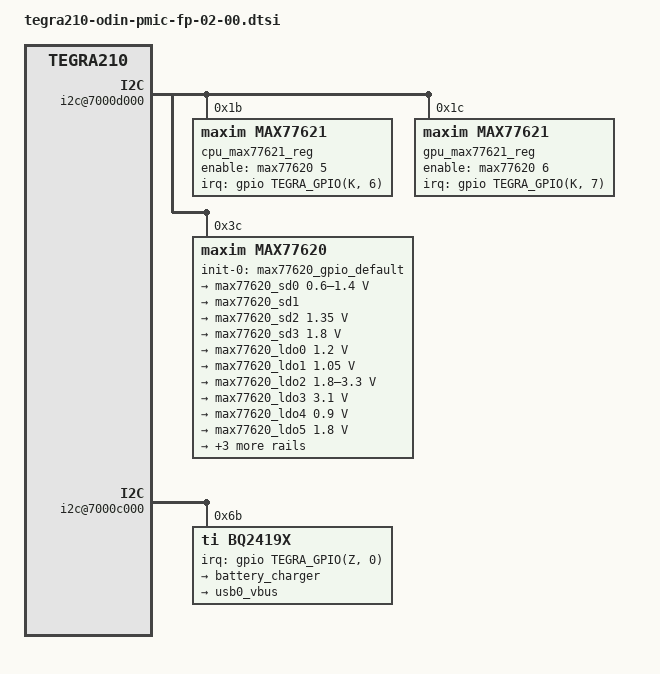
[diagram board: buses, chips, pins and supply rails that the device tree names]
/*
 * Copyright (c) 2014-2015, NVIDIA CORPORATION.  All rights reserved.
 *
 * This program is free software; you can redistribute it and/or modify
 * it under the terms of the GNU General Public License as published by
 * the Free Software Foundation; either version 2 of the License, or
 * (at your option) any later version.
 *
 * This program is distributed in the hope that it will be useful, but WITHOUT
 * ANY WARRANTY; without even the implied warranty of MERCHANTABILITY or
 * FITNESS FOR A PARTICULAR PURPOSE.  See the GNU General Public License for
 * more details.
 *
 * You should have received a copy of the GNU General Public License
 * along with this program.  If not, see <http://www.gnu.org/licenses/>.
 */

#include <dt-bindings/mfd/max77620.h>
#include <dt-bindings/regulator/regulator.h>
#include <dt-bindings/gpio/tegra-gpio.h>
#include <dt-bindings/thermal/thermal.h>
#include <dt-bindings/interrupt-controller/irq.h>

/ {
	i2c@7000d000 {
		nvidia,bit-banging-xfer-after-shutdown;

		cpu_max77621_reg: max77621@1b {
			compatible = "maxim,max77621";
			reg = <0x1b>;
			interrupt-parent = <&gpio>;
			interrupts = <TEGRA_GPIO(K, 6) IRQF_TRIGGER_FALLING>;
			regulator-name = "vdd-cpu";
			regulator-min-microvolt = <606250>;
			regulator-max-microvolt = <1400000>;
			regulator-n-voltages = <128>;
			regulator-ramp-delay = <12000>;
			regulator-enable-ramp-delay = <150>;
			regulator-disable-ramp-delay = <60000>;
			regulator-boot-on;
			regulator-always-on;
			#thermal-sensor-cells = <0>;
			maxim,enable-active-discharge;
			maxim,externally-enable;
			maxim,sleep-on-dvs;
			maxim,dvs-default-state = <1>;
			maxim,enable-gpio = <&max77620 5 0>;
		};

		gpu_max77621_reg: max77621@1c {
			compatible = "maxim,max77621";
			reg = <0x1c>;
			interrupt-parent = <&gpio>;
			interrupts = <TEGRA_GPIO(K, 7) IRQF_TRIGGER_FALLING>;
			regulator-name = "vdd-gpu";
			regulator-min-microvolt = <606250>;
			regulator-max-microvolt = <1400000>;
			regulator-init-microvolt = <1000000>;
			regulator-enable-ramp-delay = <200>;
			regulator-disable-ramp-delay = <60000>;
			regulator-boot-off;
			regulator-ramp-delay = <12000>;
			#thermal-sensor-cells = <0>;
			maxim,enable-active-discharge;
			maxim,enable-bias-control;
			maxim,dvs-default-state = <1>;
			maxim,enable-gpio = <&max77620 6 0>;
		};

		max77620: max77620@3c {
			compatible = "maxim,max77620";
			reg = <0x3c>;
			interrupts = <0 86 IRQ_TYPE_NONE>;

			#interrupt-cells = <2>;
			interrupt-controller;

			gpio-controller;
			#gpio-cells = <2>;

			maxim,enable-clock32k-out;

			maxim,system-pmic-power-off;

			maxim,hot-die-threshold-temp = <110000>;
			#thermal-sensor-cells = <0>;

			pinctrl-names = "default";
			pinctrl-0 = <&max77620_default>;

			gpio-init-names = "default";
			gpio-init-0 = <&max77620_gpio_default>;

			max77620_default: pinmux@0 {
				pin_gpio0 {
					pins = "gpio0";
					function = "gpio";
				};

				pin_gpio1 {
					pins = "gpio1";
					function = "fps-out";
					drive-push-pull = <1>;
					maxim,fps-source = <FPS_SRC_0>;
					maxim,fps-power-up-period = <7>;
					maxim,fps-power-down-period = <0>;
				};

				pin_gpio2_3 {
					pins = "gpio2", "gpio3";
					function = "fps-out";
					drive-open-drain = <1>;
					maxim,fps-source = <FPS_SRC_0>;
				};

				pin_gpio4 {
					pins = "gpio4";
					function = "32k-out1";
				};

				pin_gpio5_6_7 {
					pins = "gpio5", "gpio6", "gpio7";
					function = "gpio";
					drive-push-pull = <1>;
				};
			};

			max77620_gpio_default:gpio_default {
				gpio-output-high = <2>;
			};

			watchdog {
				maxim,wdt-timeout = <16>;
				maxim,wdt-clear-time = <13>;
				status = "disabled";
				dt-override-status-odm-data = <0x00020000 0x00020000>;
			};

			fps {
				#address-cells = <1>;
				#size-cells = <0>;
				fps@0 {
					reg = <0>;
					maxim,fps-time-period = <2560>;
					maxim,fps-enable-input = <FPS_EN_SRC_EN0>;
				};

				fps@1 {
					reg = <1>;
					maxim,fps-time-period = <2560>;
					maxim,fps-enable-input = <FPS_EN_SRC_EN1>;
					maxim,enable-sleep;
				};

				fps@2 {
					reg = <2>;
					maxim,fps-enable-input = <FPS_EN_SRC_EN0>;
				};
			};

			backup-battery {
				maxim,backup-battery-charging-current = <100>;
				maxim,backup-battery-charging-voltage = <3000000>;
				maxim,backup-battery-output-resister = <100>;
			};

			regulators {
				in-ldo0-1-supply = <&max77620_sd2>;
				in-ldo7-8-supply = <&max77620_sd2>;

				max77620_sd0: sd0 {
					regulator-name = "vdd_core";
					regulator-min-microvolt = <600000>;
					regulator-max-microvolt = <1400000>;
					regulator-boot-on;
					regulator-always-on;
					maxim,fps-source = <FPS_SRC_1>;
					regulator-init-mode = <REGULATOR_MODE_NORMAL>;
					regulator-enable-ramp-delay = <146>;
					regulator-disable-ramp-delay = <4080>;
					regulator-ramp-delay = <27500>;
					regulator-ramp-delay-scale = <300>;
				};

				max77620_sd1: sd1 {
					regulator-name = "vddio-ddr";
					regulator-always-on;
					regulator-boot-on;
					regulator-init-mode = <REGULATOR_MODE_NORMAL>;
					maxim,fps-source = <FPS_SRC_0>;
					regulator-enable-ramp-delay = <130>;
					regulator-disable-ramp-delay = <145800>;
					regulator-ramp-delay = <27500>;
					regulator-ramp-delay-scale = <300>;
				};

				max77620_sd2: sd2 {
					regulator-name = "vdd-pre-reg";
					regulator-min-microvolt = <1350000>;
					regulator-max-microvolt = <1350000>;
					maxim,fps-source = <FPS_SRC_1>;
					regulator-enable-ramp-delay = <176>;
					regulator-disable-ramp-delay = <32000>;
					regulator-ramp-delay = <27500>;
					regulator-ramp-delay-scale = <350>;
				};

				max77620_sd3: sd3 {
					regulator-name = "vdd-1v8";
					regulator-min-microvolt = <1800000>;
					regulator-max-microvolt = <1800000>;
					regulator-always-on;
					regulator-boot-on;
					maxim,fps-source = <FPS_SRC_0>;
					regulator-init-mode = <REGULATOR_MODE_NORMAL>;
					regulator-enable-ramp-delay = <242>;
					regulator-disable-ramp-delay = <118000>;
					regulator-ramp-delay = <27500>;
					regulator-ramp-delay-scale = <360>;
					consumers {
						c7 {
							regulator-consumer-supply = "avdd_pll_utmip";
							regulator-consumer-device = "tegra-ehci.0";
						};
						c8 {
							regulator-consumer-supply = "avdd_pll_utmip";
							regulator-consumer-device = "tegra-ehci.1";
						};
						c9 {
							regulator-consumer-supply = "avdd_pll_utmip";
							regulator-consumer-device = "tegra-ehci.2";
						};
						c18 {
							regulator-consumer-supply = "vdd";
							regulator-consumer-device = "2-004c";
						};
						c19 {
							regulator-consumer-supply = "vdd";
							regulator-consumer-device = "0-004c";
						};
					};
				};

				max77620_ldo0: ldo0 {
					regulator-name = "avdd-sys";
					regulator-min-microvolt = <1200000>;
					regulator-max-microvolt = <1200000>;
					regulator-always-on;
					regulator-boot-on;
					maxim,fps-source = <FPS_SRC_NONE>;
					regulator-enable-ramp-delay = <26>;
					regulator-disable-ramp-delay = <626>;
					regulator-ramp-delay = <100000>;
					regulator-ramp-delay-scale = <200>;
					consumers {
						c0 {
							regulator-consumer-supply = "vddio_hsic";
							regulator-consumer-device = "tegra-ehci.1";
						};
						c1 {
							regulator-consumer-supply = "vddio_hsic";
							regulator-consumer-device = "tegra-ehci.2";
						};
						c2 {
							regulator-consumer-supply = "vdig";
						};
					};
				};

				max77620_ldo1: ldo1 {
					regulator-name = "vdd-pex";
					regulator-min-microvolt = <1050000>;
					regulator-max-microvolt = <1050000>;
					maxim,fps-source = <FPS_SRC_NONE>;
					regulator-enable-ramp-delay = <22>;
					regulator-disable-ramp-delay = <630>;
					regulator-ramp-delay = <100000>;
					regulator-ramp-delay-scale = <200>;
				};

				max77620_ldo2: ldo2 {
					regulator-name = "vddio-sdmmc3";
					regulator-min-microvolt = <1800000>;
					regulator-max-microvolt = <3300000>;
					maxim,fps-source = <FPS_SRC_NONE>;
					regulator-enable-ramp-delay = <62>;
					regulator-disable-ramp-delay = <650>;
					regulator-ramp-delay = <100000>;
					regulator-ramp-delay-scale = <200>;
				};

				max77620_ldo3: ldo3 {
					regulator-name = "vdd-gc-3v1";
					regulator-min-microvolt = <3100000>;
					regulator-max-microvolt = <3100000>;
					maxim,fps-source = <FPS_SRC_NONE>;
					regulator-enable-ramp-delay = <50>;
					regulator-disable-ramp-delay = <1110>;
					regulator-ramp-delay = <100000>;
					regulator-ramp-delay-scale = <200>;
				};

				max77620_ldo4: ldo4 {
					regulator-name = "vdd-rtc";
					regulator-min-microvolt = <900000>;
					regulator-max-microvolt = <900000>;
					regulator-always-on;
					regulator-boot-on;
					maxim,fps-source = <FPS_SRC_0>;
					regulator-enable-ramp-delay = <22>;
					regulator-disable-ramp-delay = <610>;
					regulator-ramp-delay = <100000>;
					regulator-ramp-delay-scale = <200>;
				};

				max77620_ldo5: ldo5 {
					regulator-name = "vdd-gc-1v8";
					regulator-min-microvolt = <1800000>;
					regulator-max-microvolt = <1800000>;
					maxim,fps-source = <FPS_SRC_NONE>;
					regulator-enable-ramp-delay = <62>;
					regulator-disable-ramp-delay = <640>;
					regulator-ramp-delay = <100000>;
					regulator-ramp-delay-scale = <200>;
				};

				max77620_ldo6: ldo6 {
					regulator-name = "vdd-tp-3v1";
					regulator-min-microvolt = <2900000>;
					regulator-max-microvolt = <2900000>;
					maxim,fps-source = <FPS_SRC_NONE>;
					regulator-enable-ramp-delay = <36>;
					regulator-disable-ramp-delay = <674>;
					regulator-ramp-delay = <100000>;
					regulator-ramp-delay-scale = <200>;
				};

				max77620_ldo7: ldo7 {
					regulator-name = "vdd-gen-pll-edp";
					regulator-min-microvolt = <1050000>;
					regulator-max-microvolt = <1050000>;
					regulator-always-on;
					regulator-boot-on;
					maxim,fps-source = <FPS_SRC_1>;
					regulator-enable-ramp-delay = <24>;
					regulator-disable-ramp-delay = <2768>;
					regulator-ramp-delay = <100000>;
					regulator-ramp-delay-scale = <200>;
				};

				max77620_ldo8: ldo8 {
					regulator-name = "vdd-hdmi-dp";
					regulator-min-microvolt = <1050000>;
					regulator-max-microvolt = <1050000>;
					maxim,fps-source = <FPS_SRC_NONE>;
					regulator-enable-ramp-delay = <22>;
					regulator-disable-ramp-delay = <1160>;
					regulator-ramp-delay = <100000>;
					regulator-ramp-delay-scale = <200>;
				};
			};
		};
	};

	i2c@7000c000 {
		bq2419x: battery-charger@6b {
			compatible = "ti,bq2419x";
			reg = <0x6b>;

			interrupt-parent = <&gpio>;
			interrupts = <TEGRA_GPIO(Z, 0) 0x0>;
			#extcon-cells = <1>;

			#thermal-sensor-cells = <0>;

			battery_charger: charger {
				status = "disabled";
				dt-override-status-odm-data = <0x00C00000 0x00400000>;
				regulator-name = "batt_regulator";
				regulator-max-microamp = <3000000>;
				ti,disbale-suspend-during-charging;
				ti,charge-voltage-limit-millivolt = <4208>;
				ti,charge-term-current-limit-milliamp = <256>;
				ti,ir-comp-voltage-millivolt = <1>;
				ti,ir-comp-resister-ohm = <1>;
				ti,pre-charge-current-limit-milliamp = <128>;
				ti,thermal-regulation-threshold-degc = <120>;
				ti,fast-charge-current-limit-milliamp = <512>;
				ti,min-system-voltage-limit-millivolt = <3000>;
				ti,input-voltage-limit-millivolt = <4360>;
				ti,temp-range = <45 50>;
				ti,charge-thermal-voltage-limit = <4208 4208>;
				ti,charge-current-limit = <512 512>;
				ti,thermal-zone = "max170xx_battery";
				ti,temp-polling-time-sec = <20>;
				ti,pre-to-fast-charge-voltage-millivolt = <3000>;
			};

			usb0_vbus: vbus {
				regulator-name = "vbus_regulator";
				ti,otg-iusb-gpio = <&gpio TEGRA_GPIO(CC, 5) 0>;
			};
		};

		battery-gauge@36 {
			compatible = "maxim,max17050";
			reg = <0x36>;
			#thermal-sensor-cells = <0>;
			status = "disabled";
			dt-override-status-odm-data = <0x00C00000 0x00400000>;
			interrupt-parent = <&gpio>;
			interrupts = <TEGRA_GPIO(Y, 0) 0x0>;
			maxim,volt-alrt-threshold = <0xff00>;
			maxim,temp-alrt-threshold = <0xff00>;
			maxim,soc-alrt-threshold = <0xff00>;
			maxim,shutdown-timer = <0xe000>;
			maxim,design-capacity = <0x1085>;
			maxim,rem-cap-soc-tte = <0x0000>;
			maxim,temp-gain = <0xBC94>;
			maxim,temp-offset = <0x84BA>;
			maxim,voltage-empty = <0x93DA>;
			maxim,qresidual00 = <0x2184>;
			maxim,qresidual10 = <0x1300>;
			maxim,qresidual20 = <0x0c00>;
			maxim,qresidual30 = <0x0880>;
			maxim,full-soc-thresh = <0x5A00>;
			maxim,rcomp0 = <0x0052>;
			maxim,tempco = <0x1F2D>;
			maxim,ichg-termi-current = <0x0140>;
			maxim,temp-nom = <0x1400>;
			maxim,temp-lim = <0x2305>;
			maxim,filter-config = <0x87A4>;
			maxim,config = <0x2210>;
			maxim,learn-config = <0x2606>;
			maxim,misc-config = <0x0810>;
			maxim,full-capacity = <0x1085>;
			maxim,full-capacity-nom = <0x1085>;
			maxim,lavg-empty = <0x1000>;
			maxim,dqacc = <0x01f4>;
			maxim,dpacc = <0x3200>;
			maxim,fctc = <0x05e0>;
			maxim,kempty = <0x0600>;
			maxim,cell-char-tbl = <0x9380 0xAB70 0xAFA0 0xB3E0 0xB790 0xBB40
					0xBBD0 0xBC70 0xBD90 0xBE30 0xC0F0 0xC380 0xC710
					0xCA90 0xCF70 0xD480 0x00B0 0x0610 0x0600 0x06F0
					0x0700 0x2410 0x2040 0x2460 0x1CE0 0x09F0 0x0AB0
					0x08E0 0x0880 0x06F0 0x05D0 0x05D0 0x0100 0x0100
					0x0100 0x0100 0x0100 0x0100 0x0100 0x0100 0x0100
					0x0100 0x0100 0x0100 0x0100 0x0100 0x0100 0x0100>;
			maxim,rsns-microohm = <5000>;
			maxim,enable-por-init;
			maxim,is-battery-present;
		};
	};

	dummy_cool_dev: dummy-cool-dev {
		compatible = "dummy-cooling-dev";
		#cooling-cells = <2>; /* min followed by max */
	};

	thermal-zones {
		PMIC-Die {
			polling-delay = <0>; /* milliseconds */
			polling-delay-passive = <0>; /* milliseconds */

			thermal-sensors = <&max77620>;
			trips {
				die_temp_thresh: hot-die {
					temperature = <120000>;
					type = "active";
					hysteresis = <0>;
				};
			};

			cooling-maps {
				map0 {
					trip = <&die_temp_thresh>;
					cooling-device = <&dummy_cool_dev THERMAL_NO_LIMIT
								THERMAL_NO_LIMIT>;
					contribution = <100>;
					cdev-type = "emergency-balanced";
				};
			};
		};

		PMIC-Die-max77621-0 {
			status = "disabled";
			polling-delay = <0>; /* milliseconds */
			polling-delay-passive = <0>; /* milliseconds */
			thermal-sensors = <&cpu_max77621_reg>;

			trips {
				die_temp_thresh_max77621_0: hot-die {
					temperature = <120000>;
					type = "active";
					hysteresis = <0>;
				};
			};

			cooling-maps {
				map0 {
					trip = <&die_temp_thresh_max77621_0>;
					cooling-device = <&dummy_cool_dev THERMAL_NO_LIMIT
								THERMAL_NO_LIMIT>;
					contribution = <100>;
					cdev-type = "emergency-balanced";
				};
			};
		};

		PMIC-Die-max77621-1 {
			status = "disabled";
			polling-delay = <0>; /* milliseconds */
			polling-delay-passive = <0>; /* milliseconds */
			thermal-sensors = <&gpu_max77621_reg>;

			trips {
				die_temp_thresh_max77621_1: hot-die {
					temperature = <120000>;
					type = "active";
					hysteresis = <0>;
				};
			};

			cooling-maps {
				map0 {
					trip = <&die_temp_thresh_max77621_1>;
					cooling-device = <&dummy_cool_dev THERMAL_NO_LIMIT
								THERMAL_NO_LIMIT>;
					contribution = <100>;
					cdev-type = "emergency-balanced";
				};
			};
		};

		Charger-Die {
			status = "disabled";
			polling-delay = <0>; /* milliseconds */
			polling-delay-passive = <0>; /* milliseconds */

			thermal-sensors = <&bq2419x>;
			trips {
				die_temp_thresh_chg: hot-die {
					temperature = <120000>;
					type = "active";
					hysteresis = <0>;
				};
			};

			cooling-maps {
				map0 {
					trip = <&die_temp_thresh_chg>;
					cooling-device = <&dummy_cool_dev THERMAL_NO_LIMIT
								THERMAL_NO_LIMIT>;
					contribution = <100>;
					cdev-type = "emergency-balanced";
				};
			};
		};
	};

	extcon {
		compatible = "simple-bus";
		device_type = "external-connection";
		#address-cells = <1>;
		#size-cells = <0>;
	};

	soft_watchdog {
		compatible = "softdog-platform";
		status = "disabled";
		dt-override-status-odm-data = <0x00030000 0x00000000>;
	};
};
